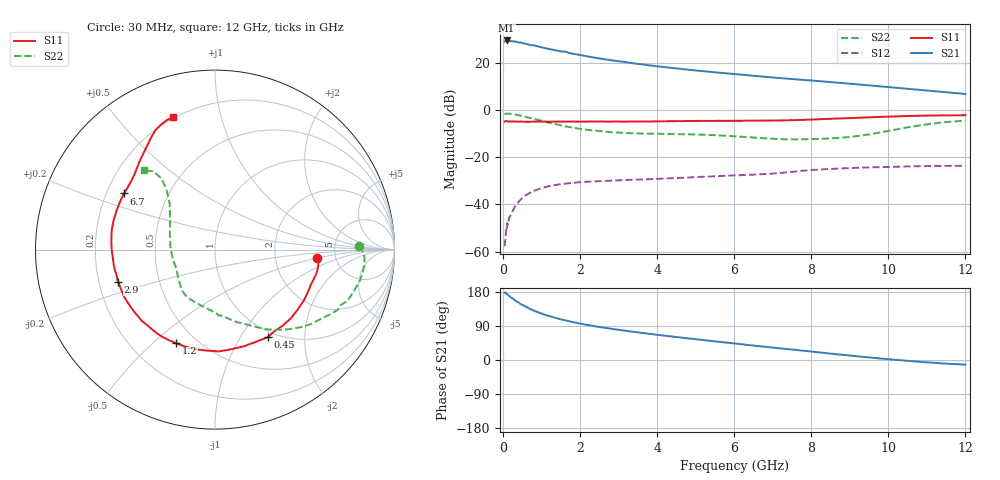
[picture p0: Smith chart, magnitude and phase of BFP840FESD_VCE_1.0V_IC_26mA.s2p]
! Infineon Technologies  Discrete & RF Semiconductors
! BFP840FESD
! VCE =  1.0 V,  IC =  26 mA
! Common Emitter S-Parameters:  May 2012
# GHz  S  MA  R  50
!  f  S11  S21  S12  S22
! GHz  MAG  ANG  MAG  ANG  MAG  ANG  MAG  ANG
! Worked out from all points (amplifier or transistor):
!   103 points, 30 MHz to 12 GHz, reference 50 ohm
!   highest |S21| = 29.5 dB at 80 MHz (marker M1)
!   |S21| within 3 dB of that: start of sweep to 1.01 GHz
!   unconditionally stable (mu >= 1): start of sweep to 96.95 MHz; 3.83 GHz to end of sweep
!   at 400 MHz: K = 0.42, MSG = 33.7 dB, |S12| = -38.9 dB
!   at 3.7 GHz: K = 0.98, MSG = 24.2 dB, |S12| = -29.4 dB
!   at 12 GHz: K = 1.28, MAG = 12.1 dB, |S12| = -23.7 dB
!   S11 on the Smith chart (normalised r, x): 30 MHz: 3.56, -0.48; 450 MHz: 0.92, -1.33; 1.2 GHz: 0.39, -0.60; 2.9 GHz: 0.28, -0.15; 6.7 GHz: 0.27, +0.26; 12 GHz: 0.19, +0.71
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0.03  0.5679 -4.6  28.2 177.5  0.0013 84.6  0.8041 1.4
0.05  0.5814 -7.2  29.27 178.3  0.0018 54.6  0.8213 -0.4
0.08  0.5814 -12.0  29.73 174.8  0.0031 73.6  0.833 -2.9
0.13  0.5691 -19.6  28.78 170.6  0.0043 72.7  0.8354 -7.0
0.2  0.5705 -29.5  28.73 164.6  0.0061 75.4  0.8268 -11.8
0.3  0.5704 -42.1  28.33 157.5  0.009 70.5  0.8023 -17.9
0.35  0.5672 -48.5  27.5 153.7  0.0101 69.2  0.7921 -21.1
0.45  0.5697 -58.9  26.95 147.4  0.0127 66.3  0.7624 -26.0
0.7  0.5631 -82.0  23.75 134.3  0.0177 57.7  0.6758 -38.0
0.8  0.5675 -87.8  23.37 130.0  0.0194 55.2  0.6462 -41.9
1  0.5666 -101.9  21.14 122.0  0.0221 50.4  0.5876 -49.4
1.2  0.5647 -112.5  19.47 115.7  0.0244 46.5  0.5361 -56.1
1.5  0.5676 -125.3  17.44 107.1  0.0269 41.4  0.4705 -64.5
1.6  0.5666 -127.8  17.22 104.8  0.0274 40.1  0.4514 -67.3
2.1  0.568 -144.4  14.12 94.1  0.0299 35.5  0.3849 -80.4
2.9  0.5688 -161.6  11.03 80.9  0.032 32.4  0.336 -95.9
4.1  0.5753 -179.8  8.24 65.2  0.035 32.3  0.3119 -112.7
6.1  0.59 156.1  5.684 42.5  0.0414 33.9  0.2737 -135.8
6.7  0.5951 148.3  5.124 35.9  0.0434 35.1  0.2536 -144.8
8.5  0.6506 129.8  3.9 16.8  0.0565 32.8  0.2495 175.9
10.5  0.7451 116.3  2.811 -2.2  0.0636 25.0  0.4291 129.0
12  0.7736 107.8  2.184 -12.2  0.0655 22.2  0.5941 131.9
